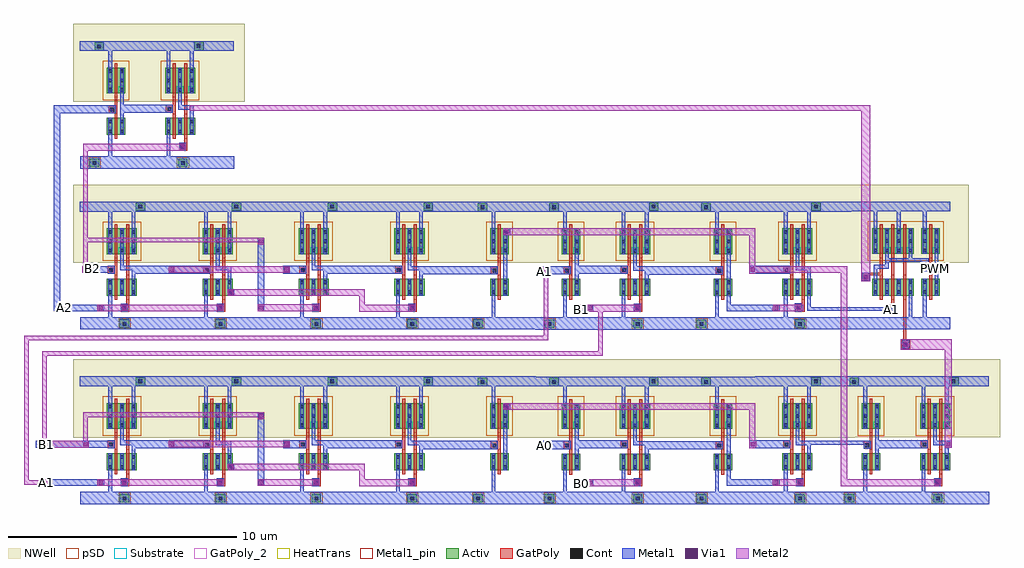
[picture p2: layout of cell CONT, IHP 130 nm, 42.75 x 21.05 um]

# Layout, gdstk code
import gdstk
lib = gdstk.Library(unit=1e-6, precision=1e-09)
def R(c, l, rs):  # rectangles x0, y0, x1, y1
    for r in rs: c.add(gdstk.rectangle(r[:2], r[2:], *l))
def A(c, l, x, y, w, h, nx, ny, dx, dy):  # array of equal rectangles
    R(c, l, [(x+i*dx, y+j*dy, x+i*dx+w, y+j*dy+h) for i in range(nx) for j in range(ny)])
def P(c, l, *ps):  # polygons
    for p in ps: c.add(gdstk.Polygon(p, *l))
Activ = (1, 0)
GatPoly = (5, 0)
GatPoly_2 = (5, 2)
Cont = (6, 0)
Metal1 = (8, 0)
Metal1_pin = (8, 2)
Metal2 = (10, 0)
pSD = (14, 0)
Via1 = (19, 0)
NWell = (31, 0)
Substrate = (40, 0)
HeatTrans = (51, 0)

via_stack_1 = lib.new_cell('via_stack$1')
R(via_stack_1, Metal1, [(-0.145,-0.145,0.145,0.145)])
R(via_stack_1, Metal2, [(-0.145,-0.145,0.145,0.145)])
R(via_stack_1, Via1, [(-0.095,-0.095,0.095,0.095)])

pmos_2 = lib.new_cell('pmos$2')
R(pmos_2, Activ, [(0,0,0.3,0.3), (0,0,0.81,1.12), (0.51,0,0.81,0.3)])
R(pmos_2, GatPoly, [(0.34,-0.18,0.47,1.3), (0.34,-0.18,0.47,1.3)])
A(pmos_2, Cont, 0.07, 0.07, 0.16, 0.16, 1, 3, 0, 0.41)
A(pmos_2, Cont, 0.58, 0.07, 0.16, 0.16, 1, 3, 0, 0.41)
R(pmos_2, Metal1, [(0.07,0,0.23,1.12), (0.07,0,0.23,1.12), (0.58,0,0.74,1.12), (0.58,0,0.74,1.12)])
R(pmos_2, pSD, [(-0.18,-0.3,0.99,1.42)])
R(pmos_2, NWell, [(-0.31,-0.31,1.12,1.43)])
R(pmos_2, Substrate, [(0.51,0,0.81,0.3)])
R(pmos_2, HeatTrans, [(0.34,-0.18,0.47,1.3)])
pmos_2.add(gdstk.Label('pmos', (0.405,0.56), layer=63, texttype=0))
pmos_2.add(gdstk.Label('pmos', (0.405,0.56), layer=51, texttype=0))

nmos_2 = lib.new_cell('nmos$2')
R(nmos_2, Activ, [(0,0,0.3,0.3), (0,0,0.81,0.74), (0.51,0,0.81,0.3)])
R(nmos_2, GatPoly, [(0.34,-0.18,0.47,0.92)])
R(nmos_2, GatPoly_2, [(0.34,-0.18,0.47,0.92)])
R(nmos_2, Cont, [(0.07,0.07,0.23,0.23), (0.58,0.07,0.74,0.23), (0.07,0.51,0.23,0.67), (0.58,0.51,0.74,0.67)])
R(nmos_2, Metal1, [(0.07,0,0.23,0.74), (0.58,0,0.74,0.74)])
R(nmos_2, Metal1_pin, [(0.07,0,0.23,0.74), (0.58,0,0.74,0.74)])
R(nmos_2, HeatTrans, [(0.34,-0.18,0.47,0.92)])
nmos_2.add(gdstk.Label('nmos', (0.405,0.37), layer=63, texttype=0))
nmos_2.add(gdstk.Label('nmos', (0.405,0.37), layer=51, texttype=0))

pmos = lib.new_cell('pmos')
R(pmos, Activ, [(0,0,0.3,0.3), (0,0,0.81,1.12), (0.51,0,0.81,0.3)])
R(pmos, GatPoly, [(0.34,-0.18,0.47,1.3), (0.34,-0.18,0.47,1.3)])
A(pmos, Cont, 0.07, 0.07, 0.16, 0.16, 1, 3, 0, 0.41)
A(pmos, Cont, 0.58, 0.07, 0.16, 0.16, 1, 3, 0, 0.41)
R(pmos, Metal1, [(0.07,0,0.23,1.12), (0.07,0,0.23,1.12), (0.58,0,0.74,1.12), (0.58,0,0.74,1.12)])
R(pmos, pSD, [(-0.18,-0.3,0.99,1.42)])
R(pmos, NWell, [(-0.31,-0.31,1.12,1.43)])
R(pmos, Substrate, [(0.51,0,0.81,0.3)])
R(pmos, HeatTrans, [(0.34,-0.18,0.47,1.3)])
pmos.add(gdstk.Label('pmos', (0.405,0.56), layer=63, texttype=0))
pmos.add(gdstk.Label('pmos', (0.405,0.56), layer=51, texttype=0))

pmos_3 = lib.new_cell('pmos$3')
R(pmos_3, Activ, [(0,0,0.3,0.3), (0,0,0.81,1.12), (0.51,0,0.81,0.3)])
R(pmos_3, GatPoly, [(0.34,-0.18,0.47,1.3), (0.34,-0.18,0.47,1.3)])
A(pmos_3, Cont, 0.07, 0.07, 0.16, 0.16, 1, 3, 0, 0.41)
A(pmos_3, Cont, 0.58, 0.07, 0.16, 0.16, 1, 3, 0, 0.41)
R(pmos_3, Metal1, [(0.07,0,0.23,1.12), (0.07,0,0.23,1.12), (0.58,0,0.74,1.12), (0.58,0,0.74,1.12)])
R(pmos_3, pSD, [(-0.18,-0.3,0.99,1.42)])
R(pmos_3, NWell, [(-0.31,-0.31,1.12,1.43)])
R(pmos_3, Substrate, [(0.51,0,0.81,0.3)])
R(pmos_3, HeatTrans, [(0.34,-0.18,0.47,1.3)])
pmos_3.add(gdstk.Label('pmos', (0.405,0.56), layer=63, texttype=0))
pmos_3.add(gdstk.Label('pmos', (0.405,0.56), layer=51, texttype=0))

pmos_4 = lib.new_cell('pmos$4')
R(pmos_4, Activ, [(0,0,0.3,0.3), (0,0,0.81,1.12), (0.51,0,0.81,0.3)])
R(pmos_4, GatPoly, [(0.34,-0.18,0.47,1.3), (0.34,-0.18,0.47,1.3)])
A(pmos_4, Cont, 0.07, 0.07, 0.16, 0.16, 1, 3, 0, 0.41)
A(pmos_4, Cont, 0.58, 0.07, 0.16, 0.16, 1, 3, 0, 0.41)
R(pmos_4, Metal1, [(0.07,0,0.23,1.12), (0.07,0,0.23,1.12), (0.58,0,0.74,1.12), (0.58,0,0.74,1.12)])
R(pmos_4, pSD, [(-0.18,-0.3,0.99,1.42)])
R(pmos_4, NWell, [(-0.31,-0.31,1.12,1.43)])
R(pmos_4, Substrate, [(0.51,0,0.81,0.3)])
R(pmos_4, HeatTrans, [(0.34,-0.18,0.47,1.3)])
pmos_4.add(gdstk.Label('pmos', (0.405,0.56), layer=63, texttype=0))
pmos_4.add(gdstk.Label('pmos', (0.405,0.56), layer=51, texttype=0))

nmos_3 = lib.new_cell('nmos$3')
R(nmos_3, Activ, [(0,0,0.3,0.3), (0,0,0.81,0.74), (0.51,0,0.81,0.3)])
R(nmos_3, GatPoly, [(0.34,-0.18,0.47,0.92)])
R(nmos_3, GatPoly_2, [(0.34,-0.18,0.47,0.92)])
R(nmos_3, Cont, [(0.07,0.07,0.23,0.23), (0.58,0.07,0.74,0.23), (0.07,0.51,0.23,0.67), (0.58,0.51,0.74,0.67)])
R(nmos_3, Metal1, [(0.07,0,0.23,0.74), (0.58,0,0.74,0.74)])
R(nmos_3, Metal1_pin, [(0.07,0,0.23,0.74), (0.58,0,0.74,0.74)])
R(nmos_3, HeatTrans, [(0.34,-0.18,0.47,0.92)])
nmos_3.add(gdstk.Label('nmos', (0.405,0.37), layer=63, texttype=0))
nmos_3.add(gdstk.Label('nmos', (0.405,0.37), layer=51, texttype=0))

nmos = lib.new_cell('nmos')
R(nmos, Activ, [(0,0,0.3,0.3), (0,0,0.81,0.74), (0.51,0,0.81,0.3)])
R(nmos, GatPoly, [(0.34,-0.18,0.47,0.92)])
R(nmos, GatPoly_2, [(0.34,-0.18,0.47,0.92)])
R(nmos, Cont, [(0.07,0.07,0.23,0.23), (0.58,0.07,0.74,0.23), (0.07,0.51,0.23,0.67), (0.58,0.51,0.74,0.67)])
R(nmos, Metal1, [(0.07,0,0.23,0.74), (0.58,0,0.74,0.74)])
R(nmos, Metal1_pin, [(0.07,0,0.23,0.74), (0.58,0,0.74,0.74)])
R(nmos, HeatTrans, [(0.34,-0.18,0.47,0.92)])
nmos.add(gdstk.Label('nmos', (0.405,0.37), layer=63, texttype=0))
nmos.add(gdstk.Label('nmos', (0.405,0.37), layer=51, texttype=0))

nmos_4 = lib.new_cell('nmos$4')
R(nmos_4, Activ, [(0,0,0.3,0.3), (0,0,0.81,0.74), (0.51,0,0.81,0.3)])
R(nmos_4, GatPoly, [(0.34,-0.18,0.47,0.92)])
R(nmos_4, GatPoly_2, [(0.34,-0.18,0.47,0.92)])
R(nmos_4, Cont, [(0.07,0.07,0.23,0.23), (0.58,0.07,0.74,0.23), (0.07,0.51,0.23,0.67), (0.58,0.51,0.74,0.67)])
R(nmos_4, Metal1, [(0.07,0,0.23,0.74), (0.58,0,0.74,0.74)])
R(nmos_4, Metal1_pin, [(0.07,0,0.23,0.74), (0.58,0,0.74,0.74)])
R(nmos_4, HeatTrans, [(0.34,-0.18,0.47,0.92)])
nmos_4.add(gdstk.Label('nmos', (0.405,0.37), layer=63, texttype=0))
nmos_4.add(gdstk.Label('nmos', (0.405,0.37), layer=51, texttype=0))

cont = lib.new_cell('CONT')
A(cont, Activ, -39.075, -47.93, 0.41, 0.365, 4, 2, 4.2, 7.65)
A(cont, Activ, -38.37, -42.81, 0.41, 0.365, 4, 2, 4.2, 7.65)
R(cont, Activ, [(-20.465,-47.935,-20.055,-47.57), (-16.595,-47.935,-16.185,-47.57), (-13.805,-47.935,-13.395,-47.57), (-23.595,-47.93,-23.185,-47.565), (-9.485,-47.93,-9.075,-47.565), (-7.32,-47.93,-6.91,-47.565), (-3.45,-47.93,-3.04,-47.565), (-20.255,-42.845,-19.845,-42.48), (-13.595,-42.845,-13.185,-42.48), (-23.385,-42.84,-22.975,-42.475), (-7.11,-42.84,-6.7,-42.475), (-15.89,-42.815,-15.48,-42.45), (-8.78,-42.81,-8.37,-42.445), (-2.745,-42.81,-2.335,-42.445), (-20.465,-40.285,-20.055,-39.92), (-16.595,-40.285,-16.185,-39.92), (-13.805,-40.285,-13.395,-39.92), (-23.595,-40.28,-23.185,-39.915), (-9.485,-40.28,-9.075,-39.915), (-20.255,-35.195,-19.845,-34.83), (-13.595,-35.195,-13.185,-34.83), (-23.385,-35.19,-22.975,-34.825), (-15.89,-35.165,-15.48,-34.8), (-8.78,-35.16,-8.37,-34.795), (-40.39,-33.235,-39.98,-32.87), (-36.52,-33.235,-36.11,-32.87), (-40.18,-28.145,-39.77,-27.78), (-35.815,-28.115,-35.405,-27.75)])
A(cont, GatPoly, -38.795, -45.635, 0.13, 0.905, 4, 2, 4.2, 7.65)
A(cont, GatPoly, -5.785, -37.98, 0.13, 0.905, 3, 1, 0.51, 0)
R(cont, GatPoly, [(-19.38,-45.64,-19.25,-44.735), (-16.315,-45.64,-16.185,-44.735), (-12.72,-45.64,-12.59,-44.735), (-22.51,-45.635,-22.38,-44.73), (-9.205,-45.635,-9.075,-44.73), (-6.235,-45.635,-6.105,-44.73), (-3.17,-45.635,-3.04,-44.73), (-12.97,-45.6,-12.66,-45.245), (-22.815,-45.595,-22.43,-45.24), (-19.635,-45.595,-19.25,-45.24), (-6.49,-45.59,-6.105,-45.235), (-5.375,-39.63,-5.07,-39.275), (-9.51,-39.57,-9.21,-39.225), (-5.275,-39.51,-5.145,-38.605), (-6.555,-38.22,-6.25,-37.86), (-19.38,-37.99,-19.25,-37.085), (-16.315,-37.99,-16.185,-37.085), (-12.72,-37.99,-12.59,-37.085), (-6.555,-37.99,-5.76,-37.86), (-22.51,-37.985,-22.38,-37.08), (-9.205,-37.985,-9.075,-37.08), (-3.625,-37.98,-3.495,-37.075), (-12.97,-37.95,-12.66,-37.595), (-22.815,-37.945,-22.43,-37.59), (-19.635,-37.945,-19.25,-37.59), (-3.985,-37.805,-3.625,-37.5), (-39.305,-30.94,-39.175,-30.035), (-36.24,-30.94,-36.11,-30.035), (-39.56,-30.895,-39.175,-30.54)])
P(cont, GatPoly, [(-30.635,-47.22),(-30.635,-46.875),(-30.395,-46.875),(-30.395,-46.65),(-30.265,-46.65),(-30.265,-47.22)],
  [(-30.905,-45.635),(-30.905,-45.555),(-31.21,-45.555),(-31.21,-45.21),(-30.905,-45.21),(-30.905,-44.73),(-30.775,-44.73),(-30.775,-45.635)],
  [(-34.835,-47.22),(-34.835,-46.875),(-34.595,-46.875),(-34.595,-46.65),(-34.465,-46.65),(-34.465,-47.22)],
  [(-35.105,-45.635),(-35.105,-45.555),(-35.41,-45.555),(-35.41,-45.21),(-35.105,-45.21),(-35.105,-44.73),(-34.975,-44.73),(-34.975,-45.635)],
  [(-26.435,-47.22),(-26.435,-46.875),(-26.195,-46.875),(-26.195,-46.65),(-26.065,-46.65),(-26.065,-47.22)],
  [(-26.705,-45.635),(-26.705,-45.555),(-27.01,-45.555),(-27.01,-45.21),(-26.705,-45.21),(-26.705,-44.73),(-26.575,-44.73),(-26.575,-45.635)],
  [(-16.555,-47.225),(-16.555,-46.88),(-16.315,-46.88),(-16.315,-46.655),(-16.185,-46.655),(-16.185,-47.225)],
  [(-16.825,-45.64),(-16.825,-45.56),(-17.13,-45.56),(-17.13,-45.215),(-16.825,-45.215),(-16.825,-44.735),(-16.695,-44.735),(-16.695,-45.64)],
  [(-39.305,-45.635),(-39.305,-45.555),(-39.61,-45.555),(-39.61,-45.21),(-39.305,-45.21),(-39.305,-44.73),(-39.175,-44.73),(-39.175,-45.635)],
  [(-39.035,-47.22),(-39.035,-46.875),(-38.795,-46.875),(-38.795,-46.65),(-38.665,-46.65),(-38.665,-47.22)],
  [(-9.715,-45.635),(-9.715,-45.555),(-10.02,-45.555),(-10.02,-45.21),(-9.715,-45.21),(-9.715,-44.73),(-9.585,-44.73),(-9.585,-45.635)],
  [(-9.445,-47.22),(-9.445,-46.875),(-9.205,-46.875),(-9.205,-46.65),(-9.075,-46.65),(-9.075,-47.22)],
  [(-36.48,-32.525),(-36.48,-32.18),(-36.24,-32.18),(-36.24,-31.955),(-36.11,-31.955),(-36.11,-32.525)],
  [(-36.75,-30.94),(-36.75,-30.86),(-37.055,-30.86),(-37.055,-30.515),(-36.75,-30.515),(-36.75,-30.035),(-36.62,-30.035),(-36.62,-30.94)],
  [(-30.635,-39.57),(-30.635,-39.225),(-30.395,-39.225),(-30.395,-39),(-30.265,-39),(-30.265,-39.57)],
  [(-30.905,-37.985),(-30.905,-37.905),(-31.21,-37.905),(-31.21,-37.56),(-30.905,-37.56),(-30.905,-37.08),(-30.775,-37.08),(-30.775,-37.985)],
  [(-34.835,-39.57),(-34.835,-39.225),(-34.595,-39.225),(-34.595,-39),(-34.465,-39),(-34.465,-39.57)],
  [(-35.105,-37.985),(-35.105,-37.905),(-35.41,-37.905),(-35.41,-37.56),(-35.105,-37.56),(-35.105,-37.08),(-34.975,-37.08),(-34.975,-37.985)],
  [(-26.435,-39.57),(-26.435,-39.225),(-26.195,-39.225),(-26.195,-39),(-26.065,-39),(-26.065,-39.57)],
  [(-26.705,-37.985),(-26.705,-37.905),(-27.01,-37.905),(-27.01,-37.56),(-26.705,-37.56),(-26.705,-37.08),(-26.575,-37.08),(-26.575,-37.985)],
  [(-16.555,-39.575),(-16.555,-39.23),(-16.315,-39.23),(-16.315,-39.005),(-16.185,-39.005),(-16.185,-39.575)],
  [(-16.825,-37.99),(-16.825,-37.91),(-17.13,-37.91),(-17.13,-37.565),(-16.825,-37.565),(-16.825,-37.085),(-16.695,-37.085),(-16.695,-37.99)],
  [(-39.305,-37.985),(-39.305,-37.905),(-39.61,-37.905),(-39.61,-37.56),(-39.305,-37.56),(-39.305,-37.08),(-39.175,-37.08),(-39.175,-37.985)],
  [(-39.035,-39.57),(-39.035,-39.225),(-38.795,-39.225),(-38.795,-39),(-38.665,-39),(-38.665,-39.57)],
  [(-9.715,-37.985),(-9.715,-37.905),(-10.02,-37.905),(-10.02,-37.56),(-9.715,-37.56),(-9.715,-37.08),(-9.585,-37.08),(-9.585,-37.985)],
  [(-9.445,-39.57),(-9.445,-39.225),(-9.205,-39.225),(-9.205,-39),(-9.075,-39),(-9.075,-39.57)],
  [(-4.84,-41.225),(-4.84,-40.78),(-4.765,-40.78),(-4.765,-39.045),(-4.635,-39.045),(-4.635,-40.78),(-4.455,-40.78),(-4.455,-41.225)],
  [(-3.41,-47.22),(-3.41,-46.875),(-3.17,-46.875),(-3.17,-46.65),(-3.04,-46.65),(-3.04,-47.22)],
  [(-3.68,-45.635),(-3.68,-45.555),(-3.985,-45.555),(-3.985,-45.21),(-3.68,-45.21),(-3.68,-44.73),(-3.55,-44.73),(-3.55,-45.635)])
A(cont, Cont, -38.945, -47.84, 0.16, 0.16, 4, 2, 4.2, 7.65)
A(cont, Cont, -38.255, -42.7, 0.16, 0.16, 4, 2, 4.2, 7.65)
R(cont, Cont, [(-20.335,-47.845,-20.175,-47.685), (-16.465,-47.845,-16.305,-47.685), (-13.675,-47.845,-13.515,-47.685), (-23.465,-47.84,-23.305,-47.68), (-9.355,-47.84,-9.195,-47.68), (-7.19,-47.84,-7.03,-47.68), (-3.32,-47.84,-3.16,-47.68), (-16.48,-47.145,-16.32,-46.985), (-16.48,-47.145,-16.32,-46.985), (-16.48,-47.145,-16.32,-46.985), (-16.48,-47.145,-16.32,-46.985), (-38.96,-47.14,-38.8,-46.98), (-38.96,-47.14,-38.8,-46.98), (-34.76,-47.14,-34.6,-46.98), (-34.76,-47.14,-34.6,-46.98), (-34.76,-47.14,-34.6,-46.98), (-34.76,-47.14,-34.6,-46.98), (-30.56,-47.14,-30.4,-46.98), (-30.56,-47.14,-30.4,-46.98), (-26.36,-47.14,-26.2,-46.98), (-26.36,-47.14,-26.2,-46.98), (-9.37,-47.14,-9.21,-46.98), (-9.37,-47.14,-9.21,-46.98), (-3.335,-47.14,-3.175,-46.98), (-3.335,-47.14,-3.175,-46.98), (-3.335,-47.14,-3.175,-46.98), (-3.335,-47.14,-3.175,-46.98), (-12.895,-45.515,-12.735,-45.355), (-12.895,-45.515,-12.735,-45.355), (-22.74,-45.51,-22.58,-45.35), (-19.56,-45.51,-19.4,-45.35), (-6.415,-45.505,-6.255,-45.345), (-17.055,-45.48,-16.895,-45.32), (-17.055,-45.48,-16.895,-45.32), (-39.535,-45.475,-39.375,-45.315), (-39.535,-45.475,-39.375,-45.315), (-35.335,-45.475,-35.175,-45.315), (-35.335,-45.475,-35.175,-45.315), (-31.135,-45.475,-30.975,-45.315), (-31.135,-45.475,-30.975,-45.315), (-26.935,-45.475,-26.775,-45.315), (-26.935,-45.475,-26.775,-45.315), (-9.945,-45.475,-9.785,-45.315), (-9.945,-45.475,-9.785,-45.315), (-3.91,-45.475,-3.75,-45.315), (-3.91,-45.475,-3.75,-45.315), (-20.14,-42.735,-19.98,-42.575), (-13.48,-42.735,-13.32,-42.575), (-23.27,-42.73,-23.11,-42.57), (-6.995,-42.73,-6.835,-42.57), (-15.775,-42.705,-15.615,-42.545), (-8.665,-42.7,-8.505,-42.54), (-2.63,-42.7,-2.47,-42.54), (-4.735,-41.095,-4.575,-40.935), (-4.735,-41.095,-4.575,-40.935), (-20.335,-40.195,-20.175,-40.035), (-16.465,-40.195,-16.305,-40.035), (-13.675,-40.195,-13.515,-40.035), (-23.465,-40.19,-23.305,-40.03), (-9.355,-40.19,-9.195,-40.03), (-5.3,-39.545,-5.14,-39.385), (-5.3,-39.545,-5.14,-39.385), (-16.48,-39.495,-16.32,-39.335), (-16.48,-39.495,-16.32,-39.335), (-16.48,-39.495,-16.32,-39.335), (-16.48,-39.495,-16.32,-39.335), (-38.96,-39.49,-38.8,-39.33), (-38.96,-39.49,-38.8,-39.33), (-34.76,-39.49,-34.6,-39.33), (-34.76,-39.49,-34.6,-39.33), (-34.76,-39.49,-34.6,-39.33), (-34.76,-39.49,-34.6,-39.33), (-30.56,-39.49,-30.4,-39.33), (-30.56,-39.49,-30.4,-39.33), (-26.36,-39.49,-26.2,-39.33), (-26.36,-39.49,-26.2,-39.33), (-9.435,-39.485,-9.275,-39.325), (-9.435,-39.485,-9.275,-39.325), (-6.48,-38.135,-6.32,-37.975), (-6.48,-38.135,-6.32,-37.975), (-12.895,-37.865,-12.735,-37.705), (-12.895,-37.865,-12.735,-37.705), (-22.74,-37.86,-22.58,-37.7), (-19.56,-37.86,-19.4,-37.7), (-17.055,-37.83,-16.895,-37.67), (-17.055,-37.83,-16.895,-37.67), (-39.535,-37.825,-39.375,-37.665), (-39.535,-37.825,-39.375,-37.665), (-35.335,-37.825,-35.175,-37.665), (-35.335,-37.825,-35.175,-37.665), (-31.135,-37.825,-30.975,-37.665), (-31.135,-37.825,-30.975,-37.665), (-26.935,-37.825,-26.775,-37.665), (-26.935,-37.825,-26.775,-37.665), (-9.945,-37.825,-9.785,-37.665), (-9.945,-37.825,-9.785,-37.665), (-3.88,-37.735,-3.72,-37.575), (-20.14,-35.085,-19.98,-34.925), (-13.48,-35.085,-13.32,-34.925), (-23.27,-35.08,-23.11,-34.92), (-15.775,-35.055,-15.615,-34.895), (-8.665,-35.05,-8.505,-34.89), (-40.26,-33.145,-40.1,-32.985), (-36.39,-33.145,-36.23,-32.985), (-36.405,-32.445,-36.245,-32.285), (-36.405,-32.445,-36.245,-32.285), (-36.405,-32.445,-36.245,-32.285), (-36.405,-32.445,-36.245,-32.285), (-39.485,-30.81,-39.325,-30.65), (-36.98,-30.78,-36.82,-30.62), (-36.98,-30.78,-36.82,-30.62), (-40.065,-28.035,-39.905,-27.875), (-35.7,-28.005,-35.54,-27.845)])
A(cont, Metal1, -18.33, -48.01, 3.18, 0.54, 3, 2, 0.51, 7.65)
A(cont, Metal1, -40.81, -48.005, 3.18, 0.54, 3, 2, 0.51, 7.65)
A(cont, Metal1, -36.61, -48.005, 3.18, 0.54, 3, 2, 0.51, 7.65)
A(cont, Metal1, -32.41, -48.005, 3.18, 0.54, 3, 2, 0.51, 7.65)
A(cont, Metal1, -28.21, -48.005, 3.18, 0.54, 3, 2, 0.51, 7.65)
A(cont, Metal1, -11.22, -48.005, 3.18, 0.54, 3, 2, 0.51, 7.65)
A(cont, Metal1, -5.185, -48.005, 3.18, 0.54, 3, 1, 0.51, 0)
A(cont, Metal1, -39.575, -47.55, 0.16, 1.065, 4, 2, 4.2, 3.9)
A(cont, Metal1, -34.835, -47.225, 0.305, 0.355, 3, 2, 4.2, 7.65)
A(cont, Metal1, -39.61, -45.56, 0.305, 0.355, 4, 2, 4.2, 7.65)
A(cont, Metal1, -38.555, -43.8, 0.16, 1.065, 4, 2, 4.2, 7.65)
A(cont, Metal1, -7.29, -40.35, 3.18, 0.54, 3, 1, 0.51, 0)
A(cont, Metal1, -39.575, -39.9, 0.16, 1.065, 4, 2, 4.2, 3.9)
A(cont, Metal1, -7.315, -35.185, 3.18, 0.425, 3, 1, 0.51, 0)
A(cont, Metal1, -38.255, -33.31, 3.18, 0.54, 3, 1, 0.51, 0)
R(cont, Metal1, [(-17.095,-47.555,-16.935,-46.49), (-9.985,-47.55,-9.825,-46.485), (-3.95,-47.55,-3.79,-46.485), (-16.555,-47.23,-16.25,-46.875), (-16.555,-47.23,-16.25,-46.875), (-39.035,-47.225,-38.73,-46.87), (-34.835,-47.225,-34.53,-46.87), (-18.95,-47.225,-18.335,-46.92), (-9.445,-47.225,-9.14,-46.87), (-3.41,-47.225,-3.105,-46.87), (-3.41,-47.225,-3.105,-46.87), (-12.48,-47.165,-12.32,-46.44), (-33.04,-47.145,-32.75,-43.995), (-19.14,-45.845,-18.98,-44.705), (-12.48,-45.845,-12.32,-44.705), (-22.27,-45.84,-22.11,-44.7), (-5.995,-45.84,-5.835,-44.7), (-16.075,-45.6,-12.715,-45.245), (-12.97,-45.6,-12.665,-45.245), (-25.87,-45.595,-22.59,-45.24), (-22.815,-45.595,-22.51,-45.24), (-20.545,-45.595,-19.495,-45.24), (-19.635,-45.595,-19.33,-45.24), (-6.49,-45.59,-6.185,-45.235), (-19.065,-45.565,-16.915,-45.21), (-17.13,-45.565,-16.825,-45.21), (-38.555,-45.56,-35.24,-45.205), (-30.075,-45.56,-26.795,-45.205), (-11.495,-45.56,-9.81,-45.205), (-10.02,-45.56,-9.715,-45.205), (-5.92,-45.56,-3.77,-45.205), (-3.985,-45.56,-3.68,-45.205), (-31.915,-45.555,-30.925,-45.205), (-38.935,-45.31,-38.335,-45.205), (-30.565,-45.27,-29.98,-45.205), (-16.075,-43.805,-15.915,-42.74), (-8.965,-43.8,-8.805,-42.735), (-2.93,-43.8,-2.77,-42.735), (-17.095,-43.655,-16.935,-42.59), (-9.985,-43.65,-9.825,-42.585), (-3.95,-43.65,-3.79,-42.585), (-18.355,-42.845,-15.175,-42.42), (-17.335,-42.845,-14.155,-42.42), (-40.835,-42.84,-37.655,-42.415), (-39.815,-42.84,-36.635,-42.415), (-36.635,-42.84,-33.455,-42.415), (-35.615,-42.84,-32.435,-42.415), (-32.435,-42.84,-29.255,-42.415), (-31.415,-42.84,-28.235,-42.415), (-28.235,-42.84,-25.055,-42.415), (-27.215,-42.84,-24.035,-42.415), (-11.245,-42.84,-8.065,-42.415), (-10.225,-42.84,-7.045,-42.415), (-5.21,-42.84,-2.03,-42.415), (-4.19,-42.84,-1.01,-42.415), (-4.81,-41.18,-4.505,-40.825), (-17.095,-39.905,-16.935,-38.84), (-4.525,-39.905,-4.365,-38.84), (-9.985,-39.9,-9.825,-38.835), (-5.375,-39.63,-5.07,-39.275), (-16.555,-39.58,-16.25,-39.225), (-16.555,-39.58,-16.25,-39.225), (-39.035,-39.575,-38.73,-39.22), (-34.835,-39.575,-34.53,-39.22), (-18.95,-39.575,-18.335,-39.27), (-9.51,-39.57,-9.205,-39.215), (-12.48,-39.515,-12.32,-38.79), (-33.04,-39.495,-32.75,-36.345), (-3.385,-38.23,-3.225,-36.995), (-6.555,-38.22,-6.25,-37.865), (-19.14,-38.195,-18.98,-37.055), (-12.48,-38.195,-12.32,-37.055), (-22.27,-38.19,-22.11,-37.05), (-16.075,-37.95,-12.715,-37.595), (-12.97,-37.95,-12.665,-37.595), (-25.87,-37.945,-22.59,-37.59), (-22.815,-37.945,-22.51,-37.59), (-20.545,-37.945,-19.495,-37.59), (-19.635,-37.945,-19.33,-37.59), (-19.065,-37.915,-16.915,-37.56), (-17.13,-37.915,-16.825,-37.56), (-38.555,-37.91,-35.24,-37.555), (-30.075,-37.91,-26.795,-37.555), (-11.495,-37.91,-9.81,-37.555), (-10.02,-37.91,-9.715,-37.555), (-31.915,-37.905,-30.925,-37.555), (-3.945,-37.805,-3.65,-37.23), (-38.935,-37.66,-38.335,-37.555), (-30.565,-37.62,-29.98,-37.555), (-16.075,-36.155,-15.915,-35.09), (-8.965,-36.15,-8.805,-35.085), (-5.035,-36.145,-4.875,-35.08), (-17.095,-36.005,-16.935,-34.94), (-9.985,-36,-9.825,-34.935), (-6.055,-35.995,-5.895,-34.93), (-18.355,-35.195,-15.175,-34.77), (-17.335,-35.195,-14.155,-34.77), (-40.835,-35.19,-37.655,-34.765), (-39.815,-35.19,-36.635,-34.765), (-36.635,-35.19,-33.455,-34.765), (-35.615,-35.19,-32.435,-34.765), (-32.435,-35.19,-29.255,-34.765), (-31.415,-35.19,-28.235,-34.765), (-28.235,-35.19,-25.055,-34.765), (-27.215,-35.19,-24.035,-34.765), (-11.245,-35.19,-8.065,-34.765), (-10.225,-35.19,-7.045,-34.765), (-37.02,-32.855,-36.86,-31.79), (-36.48,-32.53,-36.175,-32.175), (-36.48,-32.53,-36.175,-32.175), (-39.065,-31.145,-38.905,-30.005), (-39.56,-30.895,-39.255,-30.54), (-41.97,-30.89,-39.42,-30.54), (-38.99,-30.865,-36.84,-30.51), (-37.055,-30.865,-36.75,-30.51), (-36,-29.105,-35.84,-28.04), (-37.02,-28.955,-36.86,-27.89), (-38.28,-28.145,-35.1,-27.72), (-37.26,-28.145,-34.08,-27.72)])
P(cont, Metal1, [(-24.015,-40.355),(-24.015,-39.815),(-22.78,-39.815),(-22.78,-38.83),(-22.62,-38.83),(-22.62,-39.815),(-20.835,-39.815),(-20.835,-40.355)],
  [(-40.81,-33.31),(-40.81,-32.77),(-39.575,-32.77),(-39.575,-31.805),(-39.415,-31.805),(-39.415,-32.77),(-37.63,-32.77),(-37.63,-33.31)],
  [(-14.225,-40.36),(-14.225,-39.82),(-12.99,-39.82),(-12.99,-38.855),(-12.83,-38.855),(-12.83,-39.82),(-11.045,-39.82),(-11.045,-40.36)],
  [(-20.885,-40.36),(-20.885,-39.82),(-19.65,-39.82),(-19.65,-38.855),(-19.49,-38.855),(-19.49,-39.82),(-17.705,-39.82),(-17.705,-40.36)],
  [(-24.015,-48.005),(-24.015,-47.465),(-22.78,-47.465),(-22.78,-46.48),(-22.62,-46.48),(-22.62,-47.465),(-20.835,-47.465),(-20.835,-48.005)],
  [(-14.225,-48.01),(-14.225,-47.47),(-12.99,-47.47),(-12.99,-46.505),(-12.83,-46.505),(-12.83,-47.47),(-11.045,-47.47),(-11.045,-48.01)],
  [(-20.885,-48.01),(-20.885,-47.47),(-19.65,-47.47),(-19.65,-46.505),(-19.49,-46.505),(-19.49,-47.47),(-17.705,-47.47),(-17.705,-48.01)],
  [(-30.155,-46.44),(-30.155,-45.42),(-30.665,-45.42),(-30.665,-44.315),(-30.505,-44.315),(-30.505,-45.24),(-29.995,-45.24),(-29.995,-46.44)],
  [(-34.355,-46.44),(-34.355,-45.42),(-34.865,-45.42),(-34.865,-44.315),(-34.705,-44.315),(-34.705,-45.24),(-34.195,-45.24),(-34.195,-46.44)],
  [(-25.955,-46.44),(-25.955,-45.42),(-26.465,-45.42),(-26.465,-44.315),(-26.305,-44.315),(-26.305,-45.24),(-25.795,-45.24),(-25.795,-46.44)],
  [(-22.78,-43.59),(-22.78,-42.84),(-24.04,-42.84),(-24.04,-42.415),(-20.86,-42.415),(-20.86,-42.84),(-22.62,-42.84),(-22.62,-43.59)],
  [(-19.65,-43.595),(-19.65,-42.845),(-20.91,-42.845),(-20.91,-42.42),(-17.73,-42.42),(-17.73,-42.845),(-19.49,-42.845),(-19.49,-43.595)],
  [(-16.075,-46.445),(-16.075,-45.425),(-16.585,-45.425),(-16.585,-44.32),(-16.425,-44.32),(-16.425,-45.245),(-15.915,-45.245),(-15.915,-46.445)],
  [(-12.99,-43.595),(-12.99,-42.845),(-14.25,-42.845),(-14.25,-42.42),(-11.07,-42.42),(-11.07,-42.845),(-12.83,-42.845),(-12.83,-43.595)],
  [(-38.555,-46.44),(-38.555,-45.42),(-39.065,-45.42),(-39.065,-44.315),(-38.905,-44.315),(-38.905,-45.24),(-38.395,-45.24),(-38.395,-46.44)],
  [(-8.965,-46.44),(-8.965,-45.42),(-9.475,-45.42),(-9.475,-44.315),(-9.315,-44.315),(-9.315,-45.24),(-8.805,-45.24),(-8.805,-46.44)],
  [(-39.575,-28.895),(-39.575,-28.145),(-40.835,-28.145),(-40.835,-27.72),(-37.655,-27.72),(-37.655,-28.145),(-39.415,-28.145),(-39.415,-28.895)],
  [(-36,-31.745),(-36,-30.725),(-36.51,-30.725),(-36.51,-29.62),(-36.35,-29.62),(-36.35,-30.545),(-35.84,-30.545),(-35.84,-31.745)],
  [(-30.155,-38.79),(-30.155,-37.77),(-30.665,-37.77),(-30.665,-36.665),(-30.505,-36.665),(-30.505,-37.59),(-29.995,-37.59),(-29.995,-38.79)],
  [(-34.355,-38.79),(-34.355,-37.77),(-34.865,-37.77),(-34.865,-36.665),(-34.705,-36.665),(-34.705,-37.59),(-34.195,-37.59),(-34.195,-38.79)],
  [(-25.955,-38.79),(-25.955,-37.77),(-26.465,-37.77),(-26.465,-36.665),(-26.305,-36.665),(-26.305,-37.59),(-25.795,-37.59),(-25.795,-38.79)],
  [(-22.78,-35.94),(-22.78,-35.19),(-24.04,-35.19),(-24.04,-34.765),(-20.86,-34.765),(-20.86,-35.19),(-22.62,-35.19),(-22.62,-35.94)],
  [(-19.65,-35.945),(-19.65,-35.195),(-20.91,-35.195),(-20.91,-34.77),(-17.73,-34.77),(-17.73,-35.195),(-19.49,-35.195),(-19.49,-35.945)],
  [(-16.075,-38.795),(-16.075,-37.775),(-16.585,-37.775),(-16.585,-36.67),(-16.425,-36.67),(-16.425,-37.595),(-15.915,-37.595),(-15.915,-38.795)],
  [(-12.99,-35.945),(-12.99,-35.195),(-14.25,-35.195),(-14.25,-34.77),(-11.07,-34.77),(-11.07,-35.195),(-12.83,-35.195),(-12.83,-35.945)],
  [(-38.555,-38.79),(-38.555,-37.77),(-39.065,-37.77),(-39.065,-36.665),(-38.905,-36.665),(-38.905,-37.59),(-38.395,-37.59),(-38.395,-38.79)],
  [(-8.965,-38.79),(-8.965,-37.77),(-9.475,-37.77),(-9.475,-36.665),(-9.315,-36.665),(-9.315,-37.59),(-8.805,-37.59),(-8.805,-38.79)],
  [(-3.895,-35.93),(-3.895,-35.18),(-5.155,-35.18),(-5.155,-34.755),(-2.71,-34.755),(-2.71,-35.18),(-3.735,-35.18),(-3.735,-35.93)],
  [(-6.055,-38.265),(-6.055,-37.525),(-5.545,-37.525),(-5.545,-37.045),(-5.385,-37.045),(-5.385,-37.23),(-4.525,-37.23),(-4.525,-37.04),(-4.365,-37.04),(-4.365,-37.23),(-3.91,-37.23),(-3.91,-37.39),(-5.385,-37.39),(-5.385,-37.685),(-5.895,-37.685),(-5.895,-38.265)],
  [(-5.13,-40.35),(-5.13,-39.81),(-3.895,-39.81),(-3.895,-38.765),(-3.735,-38.765),(-3.735,-39.81),(-2.71,-39.81),(-2.71,-40.35)],
  [(-7.74,-48.005),(-7.74,-47.465),(-6.505,-47.465),(-6.505,-46.5),(-6.345,-46.5),(-6.345,-47.465),(-4.56,-47.465),(-4.56,-48.005)],
  [(-6.505,-43.59),(-6.505,-42.84),(-7.765,-42.84),(-7.765,-42.415),(-4.585,-42.415),(-4.585,-42.84),(-6.345,-42.84),(-6.345,-43.59)],
  [(-2.93,-46.44),(-2.93,-45.42),(-3.44,-45.42),(-3.44,-44.315),(-3.28,-44.315),(-3.28,-45.24),(-2.77,-45.24),(-2.77,-46.44)],
  [(-42.085,-47.05),(-42.085,-47.05),(-42.085,-47.05),(-42.085,-47.05)],
  [(-39.715,-39.4),(-39.715,-39.4),(-39.715,-39.4),(-39.715,-39.4)],
  [(-39.715,-47.05),(-39.715,-47.05),(-39.715,-47.05),(-39.715,-47.05)],
  [(-10.125,-39.395),(-10.125,-39.395),(-10.125,-39.395),(-10.125,-39.395)],
  [(-10.125,-47.045),(-10.125,-47.045),(-10.125,-47.045),(-10.125,-47.045)],
  [(-7.165,-39.445),(-7.165,-39.445),(-7.165,-39.445),(-7.165,-39.445)])
R(cont, Metal2, [(-18.625,-47.225,-16.355,-46.92), (-28.58,-47.22,-28.35,-46.235), (-28.505,-47.22,-26.235,-46.915), (-7.505,-47.22,-5.325,-46.915), (-5.48,-47.22,-3.21,-46.915), (-40.055,-47.21,-38.73,-46.92), (-10.465,-47.205,-9.14,-46.915), (-33.04,-47.2,-30.33,-46.91), (-7.505,-47.155,-7.215,-39.315), (-34.355,-46.52,-28.43,-46.235), (-11.495,-45.56,-11.25,-43.58), (-42.47,-45.53,-40.44,-45.24), (-2.93,-45.525,-2.64,-40.775), (-36.925,-45.52,-31.625,-45.23), (-22.27,-43.87,-11.25,-43.58), (-4.865,-41.235,-2.74,-40.775), (-18.625,-39.575,-16.355,-39.27), (-28.58,-39.57,-28.35,-38.585), (-28.505,-39.57,-26.235,-39.265), (-40.055,-39.56,-38.73,-39.27), (-10.465,-39.555,-9.14,-39.265), (-33.04,-39.55,-30.33,-39.26), (-34.355,-38.87,-28.43,-38.585), (-6.6,-38.235,-6.195,-30.545), (-11.495,-37.91,-11.25,-35.93), (-36.925,-37.87,-31.625,-37.58), (-22.27,-36.22,-11.25,-35.93), (-40.66,-32.525,-38.395,-32.22), (-38.55,-32.525,-36.28,-32.22), (-36,-30.78,-6.195,-30.545)])
P(cont, Metal2, [(-39.22,-39.56),(-39.22,-39.5),(-39.22,-39.27),(-34.53,-39.27),(-34.53,-39.56)],
  [(-39.22,-47.21),(-39.22,-47.15),(-39.22,-46.92),(-34.53,-46.92),(-34.53,-47.21)])
A(cont, pSD, -39.125, -47.98, 0.53, 0.475, 4, 2, 4.2, 7.65)
R(cont, pSD, [(-20.515,-47.985,-19.985,-47.51), (-16.645,-47.985,-16.115,-47.51), (-13.855,-47.985,-13.325,-47.51), (-23.645,-47.98,-23.115,-47.505), (-9.535,-47.98,-9.005,-47.505), (-7.37,-47.98,-6.84,-47.505), (-3.5,-47.98,-2.97,-47.505), (-20.515,-40.335,-19.985,-39.86), (-16.645,-40.335,-16.115,-39.86), (-13.855,-40.335,-13.325,-39.86), (-23.645,-40.33,-23.115,-39.855), (-9.535,-40.33,-9.005,-39.855), (-40.44,-33.285,-39.91,-32.81), (-36.57,-33.285,-36.04,-32.81)])
A(cont, NWell, -41.105, -45.09, 4.63, 3.425, 3, 2, 4.2, 7.65)
R(cont, NWell, [(-28.505,-45.09,-11.14,-41.665), (-11.515,-45.09,-6.885,-41.665), (-8.035,-45.085,-0.52,-41.66), (-28.505,-37.44,-11.14,-34.015), (-11.515,-37.44,-1.88,-34.015), (-41.105,-30.39,-33.59,-26.965)])
cont.add(gdstk.FlexPath([(-39.46,-37.735),(-40.725,-37.735)], 0.29, ends="flush", simple_path=True, layer=8, datatype=0))  # Metal1
cont.add(gdstk.FlexPath([(-39.87,-39.415),(-41.965,-39.415)], 0.29, ends="flush", simple_path=True, layer=8, datatype=0))  # Metal1
cont.add(gdstk.FlexPath([(-10.28,-39.41),(-12.48,-39.41)], 0.29, ends="flush", simple_path=True, layer=8, datatype=0))  # Metal1
cont.add(gdstk.FlexPath([(-39.46,-45.385),(-42.755,-45.385)], 0.29, ends="flush", simple_path=True, layer=8, datatype=0))  # Metal1
cont.add(gdstk.FlexPath([(-39.87,-47.065),(-42.425,-47.065)], 0.29, ends="flush", simple_path=True, layer=8, datatype=0))  # Metal1
cont.add(gdstk.FlexPath([(-10.28,-47.06),(-12.48,-47.06)], 0.29, ends="flush", simple_path=True, layer=8, datatype=0))  # Metal1
cont.add(gdstk.FlexPath([(-40.6,-30.735),(-41.825,-30.735),(-41.825,-39.455)], 0.29, ends="flush", simple_path=True, layer=8, datatype=0))  # Metal1
cont.add(gdstk.FlexPath([(-8.885,-38.745),(-8.885,-39.465),(-5.22,-39.465)], 0.16, ends="flush", simple_path=True, layer=8, datatype=0))  # Metal1
cont.add(gdstk.FlexPath([(-8.935,-45.32),(-6.24,-45.32)], 0.16, ends="flush", simple_path=True, layer=8, datatype=0))  # Metal1
cont.add(gdstk.FlexPath([(-40.575,-37.735),(-40.575,-36.44),(-32.75,-36.44)], 0.2, ends="flush", simple_path=True, layer=10, datatype=0))  # Metal2
cont.add(gdstk.FlexPath([(-40.575,-45.385),(-40.575,-44.09),(-32.75,-44.09)], 0.2, ends="flush", simple_path=True, layer=10, datatype=0))  # Metal2
cont.add(gdstk.FlexPath([(-40.575,-37.88),(-40.575,-32.22)], 0.2, ends="flush", simple_path=True, layer=10, datatype=0))  # Metal2
cont.add(gdstk.FlexPath([(-20.4,-37.675),(-20.4,-40.735),(-43.17,-40.735),(-43.17,-47.065),(-42.185,-47.065)], 0.2, ends="flush", simple_path=True, layer=10, datatype=0))  # Metal2
cont.add(gdstk.FlexPath([(-18.025,-39.435),(-18.025,-41.41),(-42.37,-41.41),(-42.37,-45.385)], 0.2, ends="flush", simple_path=True, layer=10, datatype=0))  # Metal2
cont.add(gdstk.FlexPath([(-7.36,-39.355),(-7.36,-37.73),(-11.415,-37.73)], 0.29, ends="flush", simple_path=True, layer=10, datatype=0))  # Metal2
cont.add(gdstk.Reference(via_stack_1, (-20.4,-37.77)))
cont.add(gdstk.Reference(pmos_2, (-22.85,-37.05)))
cont.add(gdstk.Reference(nmos_2, (-22.85,-38.875)))
cont.add(gdstk.Reference(pmos_2, (-22.85,-44.7)))
cont.add(gdstk.Reference(nmos_2, (-22.85,-46.525)))
cont.add(gdstk.Reference(pmos, (-10.055,-37.05)))
cont.add(gdstk.Reference(via_stack_1, (-22.125,-36.075)))
cont.add(gdstk.Reference(via_stack_1, (-11.35,-37.73)))
cont.add(gdstk.Reference(pmos, (-17.165,-37.055)))
cont.add(gdstk.Reference(pmos_3, (-19.72,-37.055)))
cont.add(gdstk.Reference(pmos, (-16.655,-37.055)))
cont.add(gdstk.Reference(pmos_3, (-13.06,-37.055)))
cont.add(gdstk.Reference(pmos, (-9.545,-37.05)))
cont.add(gdstk.Reference(pmos_4, (-5.615,-37.045)))
cont.add(gdstk.Reference(pmos_4, (-3.965,-37.045)))
cont.add(gdstk.Reference(pmos_4, (-5.105,-37.045)))
cont.add(gdstk.Reference(pmos_4, (-6.125,-37.045)))
cont.add(gdstk.Reference(pmos, (-39.645,-37.05)))
cont.add(gdstk.Reference(pmos, (-27.045,-37.05)))
cont.add(gdstk.Reference(pmos_3, (-39.645,-30.005)))
cont.add(gdstk.Reference(via_stack_1, (-40.58,-37.735)))
cont.add(gdstk.Reference(via_stack_1, (-36.78,-37.725)))
cont.add(gdstk.Reference(via_stack_1, (-31.77,-37.725)))
cont.add(gdstk.Reference(via_stack_1, (-32.895,-36.49)))
cont.add(gdstk.Reference(nmos_3, (-39.645,-31.83)))
cont.add(gdstk.Reference(nmos, (-36.58,-31.83)))
cont.add(gdstk.Reference(pmos, (-37.09,-30.005)))
cont.add(gdstk.Reference(pmos, (-36.58,-30.005)))
cont.add(gdstk.Reference(via_stack_1, (-36.325,-32.365)))
cont.add(gdstk.Reference(pmos, (-26.535,-37.05)))
cont.add(gdstk.Reference(nmos, (-37.09,-31.83)))
cont.add(gdstk.Reference(pmos, (-31.245,-37.05)))
cont.add(gdstk.Reference(pmos, (-30.735,-37.05)))
cont.add(gdstk.Reference(pmos, (-35.445,-37.05)))
cont.add(gdstk.Reference(pmos, (-34.935,-37.05)))
cont.add(gdstk.Reference(pmos, (-39.135,-37.05)))
cont.add(gdstk.Reference(via_stack_1, (-30.48,-39.41)))
cont.add(gdstk.Reference(via_stack_1, (-32.895,-39.405)))
cont.add(gdstk.Reference(via_stack_1, (-34.21,-38.73)))
cont.add(gdstk.Reference(via_stack_1, (-26.28,-39.41)))
cont.add(gdstk.Reference(nmos, (-27.045,-38.875)))
cont.add(gdstk.Reference(nmos, (-26.535,-46.525)))
cont.add(gdstk.Reference(nmos, (-39.135,-38.875)))
cont.add(gdstk.Reference(pmos, (-27.045,-44.7)))
cont.add(gdstk.Reference(nmos, (-31.245,-38.875)))
cont.add(gdstk.Reference(nmos, (-27.045,-46.525)))
cont.add(gdstk.Reference(nmos, (-30.735,-46.525)))
cont.add(gdstk.Reference(pmos, (-31.245,-44.7)))
cont.add(gdstk.Reference(pmos, (-30.735,-44.7)))
cont.add(gdstk.Reference(nmos, (-31.245,-46.525)))
cont.add(gdstk.Reference(nmos, (-34.935,-46.525)))
cont.add(gdstk.Reference(pmos, (-35.445,-44.7)))
cont.add(gdstk.Reference(pmos, (-34.935,-44.7)))
cont.add(gdstk.Reference(nmos, (-35.445,-46.525)))
cont.add(gdstk.Reference(nmos, (-39.645,-46.525)))
cont.add(gdstk.Reference(pmos, (-39.135,-44.7)))
cont.add(gdstk.Reference(pmos, (-39.645,-44.7)))
cont.add(gdstk.Reference(nmos, (-39.135,-46.525)))
cont.add(gdstk.Reference(via_stack_1, (-39.91,-47.065)))
cont.add(gdstk.Reference(via_stack_1, (-38.88,-47.065)))
cont.add(gdstk.Reference(via_stack_1, (-40.58,-45.385)))
cont.add(gdstk.Reference(via_stack_1, (-34.68,-47.065)))
cont.add(gdstk.Reference(via_stack_1, (-36.78,-45.375)))
cont.add(gdstk.Reference(via_stack_1, (-31.77,-45.375)))
cont.add(gdstk.Reference(via_stack_1, (-32.895,-44.14)))
cont.add(gdstk.Reference(via_stack_1, (-30.48,-47.06)))
cont.add(gdstk.Reference(via_stack_1, (-32.895,-47.055)))
cont.add(gdstk.Reference(via_stack_1, (-34.21,-46.38)))
cont.add(gdstk.Reference(via_stack_1, (-26.28,-47.06)))
cont.add(gdstk.Reference(nmos, (-34.935,-38.875)))
cont.add(gdstk.Reference(via_stack_1, (-42.28,-47.065)))
cont.add(gdstk.Reference(via_stack_1, (-39.91,-39.415)))
cont.add(gdstk.Reference(pmos, (-26.535,-44.7)))
cont.add(gdstk.Reference(via_stack_1, (-38.88,-39.415)))
cont.add(gdstk.Reference(nmos, (-30.735,-38.875)))
cont.add(gdstk.Reference(via_stack_1, (-34.68,-39.415)))
cont.add(gdstk.Reference(nmos, (-26.535,-38.875)))
cont.add(gdstk.Reference(nmos, (-39.645,-38.875)))
cont.add(gdstk.Reference(nmos, (-35.445,-38.875)))
cont.add(gdstk.Reference(nmos, (-10.055,-46.525)))
cont.add(gdstk.Reference(pmos, (-9.545,-44.7)))
cont.add(gdstk.Reference(pmos, (-10.055,-44.7)))
cont.add(gdstk.Reference(nmos, (-9.545,-46.525)))
cont.add(gdstk.Reference(via_stack_1, (-16.4,-39.415)))
cont.add(gdstk.Reference(via_stack_1, (-18.48,-39.42)))
cont.add(gdstk.Reference(via_stack_1, (-10.32,-39.41)))
cont.add(gdstk.Reference(via_stack_1, (-9.355,-39.405)))
cont.add(gdstk.Reference(nmos_3, (-13.06,-38.88)))
cont.add(gdstk.Reference(nmos, (-17.165,-46.53)))
cont.add(gdstk.Reference(nmos, (-9.545,-38.875)))
cont.add(gdstk.Reference(pmos_3, (-13.06,-44.705)))
cont.add(gdstk.Reference(nmos_3, (-13.06,-46.53)))
cont.add(gdstk.Reference(pmos_3, (-19.72,-44.705)))
cont.add(gdstk.Reference(nmos_3, (-19.72,-46.53)))
cont.add(gdstk.Reference(via_stack_1, (-16.4,-47.065)))
cont.add(gdstk.Reference(via_stack_1, (-18.48,-47.07)))
cont.add(gdstk.Reference(via_stack_1, (-10.32,-47.06)))
cont.add(gdstk.Reference(via_stack_1, (-9.29,-47.06)))
cont.add(gdstk.Reference(via_stack_1, (-22.125,-43.725)))
cont.add(gdstk.Reference(via_stack_1, (-11.35,-45.38)))
cont.add(gdstk.Reference(nmos, (-16.655,-46.53)))
cont.add(gdstk.Reference(pmos, (-17.165,-44.705)))
cont.add(gdstk.Reference(pmos, (-16.655,-44.705)))
cont.add(gdstk.Reference(nmos, (-4.02,-46.525)))
cont.add(gdstk.Reference(pmos_3, (-6.575,-44.7)))
cont.add(gdstk.Reference(nmos_3, (-6.575,-46.525)))
cont.add(gdstk.Reference(nmos, (-3.51,-46.525)))
cont.add(gdstk.Reference(pmos, (-4.02,-44.7)))
cont.add(gdstk.Reference(pmos, (-3.51,-44.7)))
cont.add(gdstk.Reference(via_stack_1, (-3.255,-47.06)))
cont.add(gdstk.Reference(via_stack_1, (-2.785,-45.385)))
cont.add(gdstk.Reference(nmos_4, (-5.615,-38.87)))
cont.add(gdstk.Reference(via_stack_1, (-6.4,-38.055)))
cont.add(gdstk.Reference(via_stack_1, (-4.655,-41.015)))
cont.add(gdstk.Reference(nmos_3, (-19.72,-38.88)))
cont.add(gdstk.Reference(nmos, (-17.165,-38.88)))
cont.add(gdstk.Reference(nmos_4, (-3.965,-38.87)))
cont.add(gdstk.Reference(nmos, (-16.655,-38.88)))
cont.add(gdstk.Reference(nmos_4, (-5.105,-38.87)))
cont.add(gdstk.Reference(nmos, (-10.055,-38.875)))
cont.add(gdstk.Reference(nmos_4, (-6.125,-38.87)))
cont.add(gdstk.Label('A2', (-41.515,-39.4), layer=8, texttype=25))
cont.add(gdstk.Label('B2', (-40.285,-37.69), layer=8, texttype=25))
cont.add(gdstk.Label('A1', (-20.47,-37.795), layer=8, texttype=25))
cont.add(gdstk.Label('B1', (-18.87,-39.465), layer=8, texttype=25))
cont.add(gdstk.Label('A1', (-42.305,-47.075), layer=8, texttype=25))
cont.add(gdstk.Label('B1', (-42.305,-45.375), layer=8, texttype=25))
cont.add(gdstk.Label('A0', (-20.47,-45.445), layer=8, texttype=25))
cont.add(gdstk.Label('B0', (-18.87,-47.115), layer=8, texttype=25))
cont.add(gdstk.Label('A1', (-5.29,-39.495), layer=8, texttype=25))
cont.add(gdstk.Label('PWM', (-3.345,-37.68), layer=8, texttype=25))

lib.write_gds('CONT.gds')
